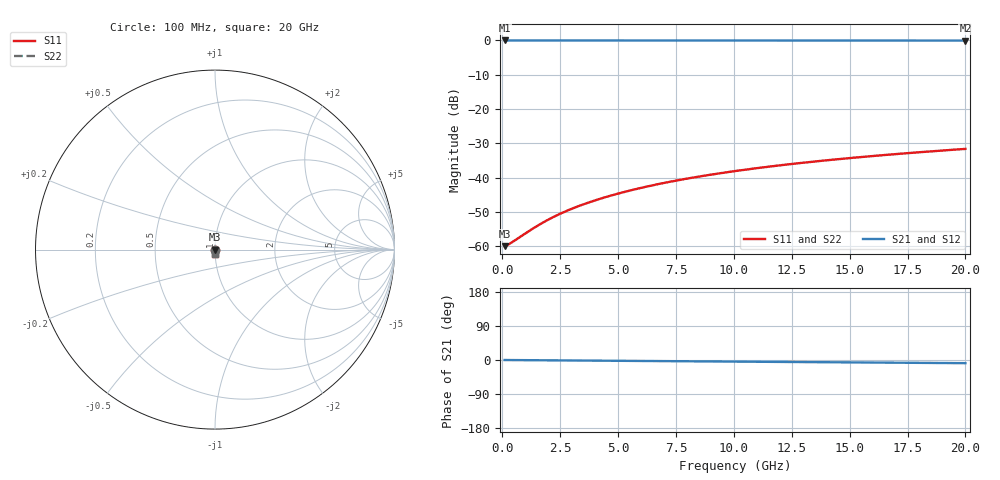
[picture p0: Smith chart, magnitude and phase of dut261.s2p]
! Touchstone file exported from HFSS 2026.1.0
!  File:  C:/ffzhzh/LocalFiles/Ansys_Project_Files/temp_train_TSV_261_1782993096_6248.aedt
!  Generated:  07:53:25 PM Jul  2, 2026
!  Design:  TSV
!  Project:  temp_train_TSV_261_1782993096_6248
! Variables:
!  h_bsmrdl = 2um
!  h_ox = 20um
!  h_rdl = 5um
!  h_sub = 91.19um
!  h_tmrdl = 5um
!  h_tsv = 91.19um
!  h_via = 3um
!  l_bsmrdl = 300um
!  l_sub = 406.52um
!  l_tmrdl = 200um
!  m_sub = 200um
!  pitch = 11.11um
!  r_tsv = 3.26um
!  s_tmrdl = 10um
!  w_bsmrdl = 18um
!  w_sub = 500um
!  w_tmrdl = 12um
!  x_tsv_center1 = 206um
!  x_tsv_center2 = 524um
!  x_tsv_center3 = 736um
!  x_tsv_center4 = 1054um
!  x_tsv_center5 = 1266um
!  x_tsv_center6 = 1584um
# GHz S MA R 50.000000
! Terminal data exported
! Port[1] = TSV1_1_T1
! Port[2] = TSV1_1_T2
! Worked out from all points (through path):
!   200 points, 100 MHz to 20 GHz, reference 50 ohm
!   highest |S21| = -0.01 dB at 100 MHz (marker M1); lowest = 0.0 dB at 20 GHz (marker M2)
!   group delay of S21, straight-line fit = 1.16 ps
!   lowest |S11| = -59.9 dB at 100 MHz (marker M3), VSWR 1.00, Z = 50.1 - j0.00632 ohm
!   |S11| at or under -10 dB: start of sweep to end of sweep
!   |S22| runs from -59.9 to -31.6 dB; largest |S21 - S12| = 2e-15
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0.1  0.001011 -3.6  0.999 -0.0  0.999 -0.0  0.001011 -3.6
! Gamma 0 0 0 0
! Port Impedance 50 0 50 0
0.2  0.001043 -7.6  0.999 -0.1  0.999 -0.1  0.001043 -7.6
0.3  0.001088 -12.0  0.9989 -0.1  0.9989 -0.1  0.001088 -12.0
1.4  0.001895 -49.5  0.9988 -0.6  0.9988 -0.6  0.001895 -49.5
1.7  0.002177 -54.7  0.9987 -0.7  0.9987 -0.7  0.002177 -54.7
2  0.002474 -58.7  0.9987 -0.9  0.9987 -0.9  0.002474 -58.7
2.3  0.002783 -61.8  0.9986 -1.0  0.9986 -1.0  0.002783 -61.7
2.7  0.00321 -64.9  0.9986 -1.2  0.9986 -1.2  0.00321 -64.9
3.1  0.003651 -67.3  0.9985 -1.3  0.9985 -1.3  0.003651 -67.3
3.5  0.004104 -69.2  0.9984 -1.5  0.9984 -1.5  0.004104 -69.2
4.2  0.004922 -71.7  0.9983 -1.8  0.9983 -1.8  0.004922 -71.7
5  0.005891 -73.7  0.9981 -2.1  0.9981 -2.1  0.005891 -73.7
5.9  0.007017 -75.5  0.9979 -2.5  0.9979 -2.5  0.007017 -75.5
6.8  0.008174 -77.0  0.9977 -2.9  0.9977 -2.9  0.008174 -77.0
7.6  0.009225 -78.2  0.9976 -3.2  0.9976 -3.2  0.009225 -78.2
8.4  0.01029 -79.2  0.9974 -3.6  0.9974 -3.6  0.01029 -79.2
10.1  0.01259 -81.1  0.9971 -4.3  0.9971 -4.3  0.01259 -81.1
11.7  0.01479 -82.8  0.9968 -4.9  0.9968 -4.9  0.01479 -82.8
13.4  0.01714 -84.3  0.9965 -5.6  0.9965 -5.6  0.01714 -84.3
15  0.01937 -85.7  0.9962 -6.3  0.9962 -6.3  0.01937 -85.7
16.7  0.02174 -87.0  0.996 -7.0  0.996 -7.0  0.02174 -87.0
20  0.02634 -89.3  0.9955 -8.4  0.9955 -8.4  0.02634 -89.3
